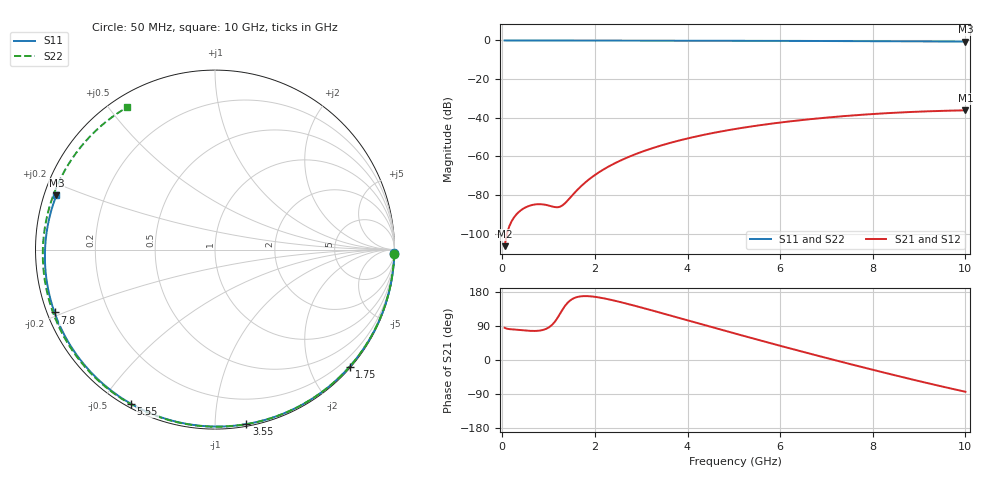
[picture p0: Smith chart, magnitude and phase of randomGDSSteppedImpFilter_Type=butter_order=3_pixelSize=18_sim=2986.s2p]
! freq	dB(S11)	phase(S11)	dB(S12)	phase(S12)
!  dB(S21)	phase(S21)	dB(S22)	phase(S22)
!S-par simulation data
#  GHz  S  DB  R 50
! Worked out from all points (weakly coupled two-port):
!   200 points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, 50 MHz to 10 GHz, reference 50 ohm
!   highest |S21| = -36.15 dB at 10 GHz (marker M1); lowest = -106.4 dB at 50 MHz (marker M2)
!   lowest |S11| = -0.6 dB at 10 GHz (marker M3), VSWR 29.33, Z = 1.75 + j8.3 ohm
!   |S11| at or under -10 dB: nowhere
!   |S22| runs from -0.6 to 0.0 dB; largest |S21 - S12| = 0
!   S11 on the Smith chart (normalised r, x): 50 MHz: 1, -98; 1.75 GHz: 0.02, -2.68; 3.55 GHz: 0.01, -1.20; 5.55 GHz: 0.01, -0.59; 7.8 GHz: 0.02, -0.19; 10 GHz: 0.04, +0.17
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0.05  -0.00 -1.2  -106.40 85.0  -106.40 85.0  -0.01 -1.4
0.4  -0.01 -9.5  -87.87 78.9  -87.87 78.9  -0.02 -11.2
0.75  -0.02 -17.8  -84.72 76.9  -84.72 76.9  -0.03 -20.9
1.1  -0.03 -26.0  -86.01 95.9  -86.01 95.9  -0.04 -30.5
1.5  -0.04 -35.3  -80.39 160.1  -80.39 160.1  -0.05 -41.3
1.75  -0.05 -41.0  -74.31 168.6  -74.31 168.6  -0.06 -48.0
2.05  -0.06 -47.7  -68.77 165.8  -68.77 165.8  -0.07 -55.8
2.45  -0.07 -56.6  -63.28 155.8  -63.28 155.8  -0.08 -66.0
2.9  -0.09 -66.3  -58.59 141.9  -58.59 141.9  -0.10 -77.3
3.4  -0.10 -76.7  -54.53 125.2  -54.53 125.2  -0.11 -89.3
3.55  -0.11 -79.8  -53.48 120.1  -53.48 120.1  -0.12 -92.9
4.25  -0.13 -93.9  -49.33 96.2  -49.33 96.2  -0.15 -109.0
5.05  -0.16 -109.2  -45.71 69.1  -45.71 69.1  -0.19 -126.8
5.55  -0.19 -118.5  -43.88 52.4  -43.88 52.4  -0.21 -137.6
6.15  -0.23 -129.4  -42.02 32.6  -42.02 32.6  -0.25 -150.4
6.7  -0.26 -139.2  -40.59 14.9  -40.59 14.9  -0.29 -162.2
7.25  -0.31 -148.9  -39.38 -2.6  -39.38 -2.6  -0.34 -174.0
7.8  -0.35 -158.6  -38.37 -19.7  -38.37 -19.7  -0.39 174.0
8.35  -0.41 -168.4  -37.55 -36.5  -37.55 -36.5  -0.44 161.6
9.15  -0.49 177.1  -36.68 -60.1  -36.68 -60.1  -0.52 142.9
9.55  -0.54 169.7  -36.38 -71.5  -36.38 -71.5  -0.56 133.1
10  -0.59 161.1  -36.15 -83.8  -36.15 -83.8  -0.61 121.6
